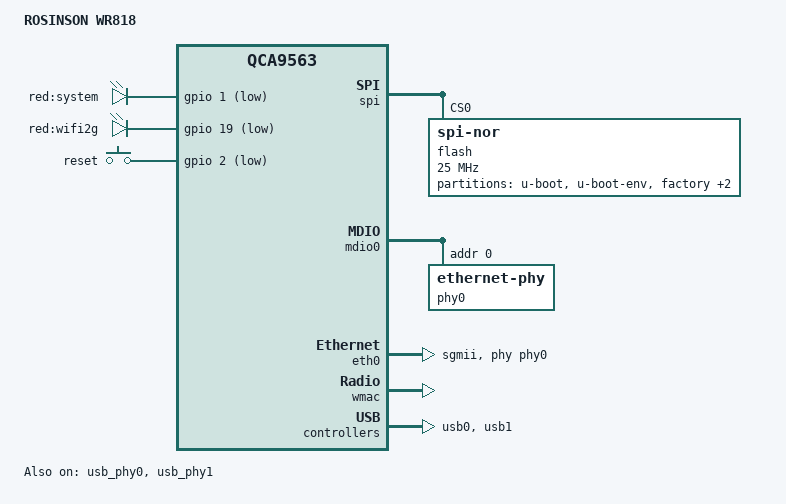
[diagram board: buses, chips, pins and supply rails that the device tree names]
// SPDX-License-Identifier: GPL-2.0-or-later OR MIT

#include "qca956x.dtsi"

#include <dt-bindings/gpio/gpio.h>
#include <dt-bindings/input/input.h>

/ {
	model = "ROSINSON WR818";
	compatible = "rosinson,wr818", "qca,qca9563";

	aliases {
		led-boot = &led_system;
		led-failsafe = &led_system;
		led-running = &led_system;
		led-upgrade = &led_system;
	};

	leds {
		compatible = "gpio-leds";

		led_system: system {
			label = "red:system";
			gpios = <&gpio 1 GPIO_ACTIVE_LOW>;
		};

		wifi_2g {
			label = "red:wifi2g";
			gpios = <&gpio 19 GPIO_ACTIVE_LOW>;
			linux,default-trigger = "phy0tpt";
		};
	};

	keys {
		compatible = "gpio-keys";

		reset {
			label = "reset";
			linux,code = <KEY_RESTART>;
			gpios = <&gpio 2 GPIO_ACTIVE_LOW>;
			debounce-interval = <60>;
		};
	};
};

&spi {
	status = "okay";

	flash@0 {
		compatible = "jedec,spi-nor";
		reg = <0>;
		spi-max-frequency = <25000000>;

		partitions {
			compatible = "fixed-partitions";
			#address-cells = <1>;
			#size-cells = <1>;

			partition@0 {
				label = "u-boot";
				reg = <0x000000 0x040000>;
				read-only;
			};

			partition@40000 {
				label = "u-boot-env";
				reg = <0x040000 0x010000>;
				read-only;
			};

			info: partition@50000 {
				label = "factory";
				reg = <0x050000 0x010000>;
				read-only;

				nvmem-layout {
					compatible = "fixed-layout";
					#address-cells = <1>;
					#size-cells = <1>;

					macaddr_info_0: macaddr@0 {
						reg = <0x0 0x6>;
					};
				};
			};

			partition@60000 {
				compatible = "denx,uimage";
				label = "firmware";
				reg = <0x060000 0xf80000>;
			};

			partition@ff0000 {
				label = "art";
				reg = <0xff0000 0x010000>;
				read-only;

				nvmem-layout {
					compatible = "fixed-layout";
					#address-cells = <1>;
					#size-cells = <1>;

					cal_art_1000: calibration@1000 {
						reg = <0x1000 0x440>;
					};
				};
			};
		};
	};
};

&mdio0 {
	status = "okay";

	phy0: ethernet-phy@0 {
		reg = <0>;
		phy-mode = "sgmii";

		qca,ar8327-initvals = <
			0x04 0x00080080 /* PORT0 PAD MODE CTRL */
			0x7c 0x0000007e /* PORT0_STATUS */
		>;
	};
};

&eth0 {
	status = "okay";

	nvmem-cells = <&macaddr_info_0>;
	nvmem-cell-names = "mac-address";
	phy-mode = "sgmii";
	phy-handle = <&phy0>;
};

&wmac {
	status = "okay";

	nvmem-cells = <&cal_art_1000>;
	nvmem-cell-names = "calibration";
};

&usb_phy0 {
	status = "okay";
};

&usb0 {
	status = "okay";
};

&usb_phy1 {
	status = "okay";
};

&usb1 {
	status = "okay";
};
